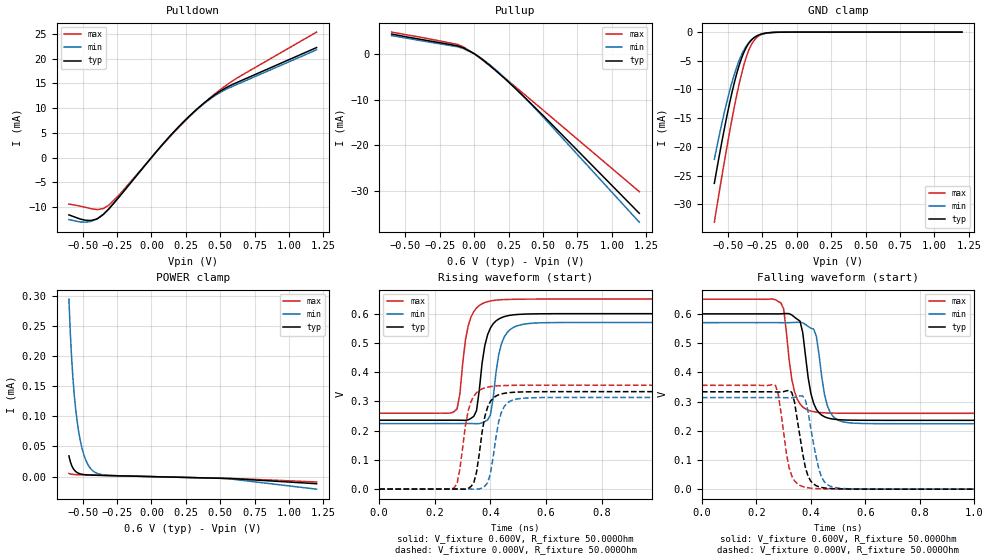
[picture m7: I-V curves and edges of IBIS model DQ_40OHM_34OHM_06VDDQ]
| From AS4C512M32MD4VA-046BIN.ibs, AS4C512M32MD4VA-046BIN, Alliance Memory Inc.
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|   MODEL: DQ_40OHM_34OHM_06VDDQ
[Model]   DQ_40OHM_34OHM_06VDDQ
Model_type   I/O
Polarity   Non-Inverting
Enable   Active-High
Vinl   = 0.080V
Vinh   = 0.220V
Vmeas   = 0.150V
Vref   = 0.150V
Cref   = 0.000pF
Rref   = 50.000Ohm
|   typ   min   max
C_comp   0.875pF   0.788pF   0.963pF
[Voltage Range]   0.600V   0.570V   0.650V
[Temperature Range]   25.0   85.0   -40.0
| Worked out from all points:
|   slope of the pulldown table from 0 to 0.09 V, typ, clamps not added: 30.5 ohm
|   slope of the pullup table from 0 to 0.09 V, typ, clamps not added: 44.8 ohm
|   GND clamp passes 1 mA (typ) near -0.31 V on its own axis
|   rising waveform, V_fixture 0.600V, R_fixture 50.000Ohm: 20-80 % time 34ps typ, 34.5ps min, 33.3ps max; typ from 0.235 V to 0.6 V
|   falling waveform, V_fixture 0.600V, R_fixture 50.000Ohm: 20-80 % time 34.5ps typ, 34.7ps min, 33.3ps max; typ from 0.6 V to 0.236 V
|   rising waveform, V_fixture 0.000V, R_fixture 50.000Ohm: 20-80 % time 34.2ps typ, 34.4ps min, 34.9ps max; typ from 0 V to 0.333 V
|   falling waveform, V_fixture 0.000V, R_fixture 50.000Ohm: 20-80 % time 36.9ps typ, 39ps min, 34.3ps max; typ from 0.333 V to 0 V
[Pulldown]
|   Voltage   I(typ)   I(min)   I(max)
-600mV    -11.59mA   -12.54mA   -9.399mA
-520mV    -12.41mA   -13.01mA   -9.804mA
-440mV    -12.73mA   -12.91mA   -10.34mA
-390mV    -12.31mA   -12.31mA   -10.51mA
-350mV    -11.51mA   -11.48mA   -10.3mA
-310mV    -10.4mA    -10.37mA   -9.646mA
-230mV    -7.787mA   -7.788mA   -7.404mA
130mV     4.198mA    4.176mA    4.076mA
270mV     8.232mA    8.17mA     8.096mA
400mV     11.42mA    11.28mA    11.44mA
580mV     14.64mA    14.26mA    15.3mA
1.2V      22.22mA    21.77mA    25.35mA
[Pullup]
|   Voltage   I(typ)   I(min)   I(max)
-600mV    4.267mA    3.904mA    4.699mA
-120mV    1.7mA      1.495mA    2.011mA
-80mV     1.289mA    1.134mA    1.496mA
0V        0A         0A         0A
80mV      -1.767mA   -1.632mA   -1.852mA
220mV     -5.374mA   -5.228mA   -5.255mA
410mV     -10.79mA   -10.91mA   -10.01mA
1.2V      -34.79mA   -36.73mA   -30.07mA
[GND Clamp]
|   Voltage   I(typ)   I(min)   I(max)
-600mV    -26.36mA   -22.19mA   -33.14mA
-550mV    -19.73mA   -16.43mA   -25.84mA
-510mV    -14.79mA   -12.27mA   -20.24mA
-470mV    -10.36mA   -8.615mA   -14.96mA
-430mV    -6.627mA   -5.609mA   -10.17mA
-390mV    -3.805mA   -3.349mA   -6.151mA
-360mV    -2.341mA   -2.151mA   -3.819mA
-320mV    -1.14mA    -1.122mA   -1.755mA
-280mV    -524.1uA   -555.5uA   -715.7uA
-230mV    -184.4uA   -215.6uA   -213.3uA
-140mV    -20.29uA   -29.99uA   -17.96uA
1.2V      6.836uA    7.386uA    6.714uA
[POWER Clamp]
|   Voltage   I(typ)   I(min)   I(max)
-600mV    34.27uA    294.1uA    5.169uA
-590mV    25uA       238.9uA    4.47uA
-570mV    13.84uA    160.6uA    3.674uA
-560mV    10.58uA    132.6uA    3.444uA
-540mV    6.655uA    91.24uA    3.146uA
-520mV    4.678uA    62.84uA    2.957uA
-490mV    3.339uA    35.2uA     2.748uA
-460mV    2.772uA    19.1uA     2.569uA
-420mV    2.39uA     8.47uA     2.342uA
-300mV    1.671uA    1.938uA    1.671uA
560mV     -3.13uA    -3.595uA   -3.086uA
1.2V      -11.8uA    -20.82uA   -8.926uA
[Ramp]
R_load = 50.000Ohm
|   typ   min   max
dV/dt_r   0.219V/30.000ps   0.208V/40.000ps   0.234V/30.000ps
dV/dt_f   0.219V/30.000ps   0.208V/30.000ps   0.234V/30.000ps
|Slew_r   7.290V/ns   5.191V/ns   7.810V/ns
|Slew_f   7.288V/ns   6.919V/ns   7.807V/ns
[Rising Waveform]
V_fixture = 0.600V
V_fixture_min = 0.570V
V_fixture_max = 0.650V
R_fixture = 50.000Ohm
L_fixture = 0.000nH
C_fixture = 0.000pF
|dV/dt_r   0.219V/30.000ps   0.208V/40.000ps   0.234V/30.000ps
|Slew_r   7.290V/ns   5.191V/ns   7.810V/ns
|   Time   V(typ)   V(min)   V(max)
0s        235.5mV    223.9mV    259.5mV
280ps     235.6mV    223.9mV    274.4mV
310ps     235.2mV    224.1mV    509.3mV
340ps     248.5mV    223.8mV    607.1mV
380ps     491.8mV    230.9mV    638.1mV
400ps     550.9mV    253.7mV    643.5mV
420ps     575.3mV    399mV      646.4mV
460ps     592.5mV    535.1mV    648.7mV
570ps     599.5mV    568.5mV    650mV
5ns       600mV      570mV      650mV
[Falling Waveform]
V_fixture = 0.600V
V_fixture_min = 0.570V
V_fixture_max = 0.650V
R_fixture = 50.000Ohm
L_fixture = 0.000nH
C_fixture = 0.000pF
|dV/dt_f   0.219V/30.000ps   0.208V/30.000ps   0.234V/30.000ps
|Slew_f   7.288V/ns   6.919V/ns   7.807V/ns
|   Time   V(typ)   V(min)   V(max)
0s        599.9mV    569.9mV    649.9mV
290ps     600.1mV    569.9mV    637.2mV
300ps     600.7mV    569.8mV    616.3mV
330ps     596.2mV    570.1mV    375.2mV
360ps     575mV      571.2mV    291.8mV
400ps     327mV      551mV      267.3mV
430ps     260.9mV    458.9mV    262.6mV
470ps     241.7mV    264mV      260.6mV
560ps     236mV      225.8mV    259.7mV
5ns       235.5mV    224mV      259.5mV
[Rising Waveform]
V_fixture = 0.000V
V_fixture_min = 0.000V
V_fixture_max = 0.000V
R_fixture = 50.000Ohm
L_fixture = 0.000nH
C_fixture = 0.000pF
|dV/dt_r   0.200V/30.000ps   0.188V/30.000ps   0.213V/30.000ps
|Slew_r   6.665V/ns   6.268V/ns   7.108V/ns
|   Time   V(typ)   V(min)   V(max)
0s        3.563uV    10.56uV    1.531uV
270ps     93.79uV    11.55uV    4.926mV
280ps     25.44uV    14.68uV    18.98mV
330ps     8.73mV     -195uV     298.8mV
350ps     57.81mV    -447uV     329.8mV
390ps     280.7mV    21.45mV    348.6mV
420ps     318.3mV    178mV      352.5mV
460ps     329mV      293.8mV    354.4mV
550ps     332.8mV    312.2mV    355.4mV
5ns       333.3mV    313.4mV    355.4mV
[Falling Waveform]
V_fixture = 0.000V
V_fixture_min = 0.000V
V_fixture_max = 0.000V
R_fixture = 50.000Ohm
L_fixture = 0.000nH
C_fixture = 0.000pF
|dV/dt_f   0.200V/40.000ps   0.188V/40.000ps   0.213V/40.000ps
|Slew_f   4.998V/ns   4.700V/ns   5.331V/ns
|   Time   V(typ)   V(min)   V(max)
0s        333.2mV    313.4mV    355.4mV
270ps     332.8mV    313.5mV    355mV
280ps     332.5mV    313.5mV    325.8mV
310ps     336.5mV    312.8mV    122.1mV
330ps     330.8mV    312.8mV    44.79mV
380ps     72.49mV    304.4mV    6.35mV
410ps     17.48mV    153.4mV    2.579mV
450ps     4.174mV    24.42mV    999.1uV
540ps     453uV      1.227mV    76.55uV
5ns       3.938uV    10.93uV    1.938uV
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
